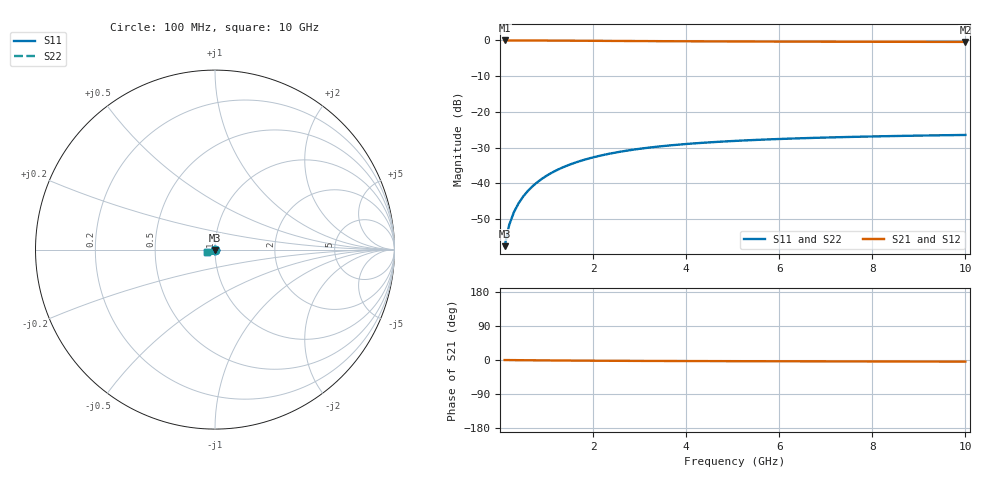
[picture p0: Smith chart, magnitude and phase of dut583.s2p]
! Touchstone file exported from HFSS 2024.1.0
!  File:  C:/UserFiles/LocalFiles/RDL_TSV_Batchsim/temp_TSV1_583_1779709494.aedt
!  Generated:  07:50:13 PM May 25, 2026
!  Design:  TSV1
!  Project:  temp_TSV1_583_1779709494
!  Setup:  Setup1
!  Solution:  Sweep
! Variables:
!  dtsv = 13.15um
!  hbump = 3um
!  htsv = 64.28um
!  lrdl = 252.1521522um
!  p = 40
!  p1 = 47.18um
!  t = 500um
!  trdl = 3um
!  wrdl = 24.89489489um
# GHz S MA R 50.000000
! Terminal data exported
! Port[1] = TSV22_T1
! Port[2] = TSV22_T2
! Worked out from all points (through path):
!   100 points, 100 MHz to 10 GHz, reference 50 ohm
!   highest |S21| = 0.00 dB at 100 MHz (marker M1); lowest = -0.4 dB at 10 GHz (marker M2)
!   lowest |S11| = -57.6 dB at 100 MHz (marker M3), VSWR 1.00, Z = 50 - j0.132 ohm
!   |S11| at or under -10 dB: start of sweep to end of sweep
!   |S22| runs from -57.6 to -26.5 dB; largest |S21 - S12| = 4.1e-15
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0.1  0.001321 -88.2  0.9999 -0.1  0.9999 -0.1  0.001321 -88.2
! Gamma 0 0 0 0
! Port Impedance 50 0 50 0
0.2  0.002637 -91.7  0.9998 -0.2  0.9998 -0.2  0.002637 -91.7
0.3  0.003951 -93.9  0.9996 -0.3  0.9996 -0.3  0.003951 -93.9
0.4  0.005259 -95.8  0.9993 -0.4  0.9993 -0.4  0.005259 -95.8
0.5  0.006555 -97.6  0.9989 -0.6  0.9989 -0.6  0.006555 -97.6
0.6  0.007837 -99.3  0.9985 -0.7  0.9985 -0.7  0.007837 -99.3
0.7  0.0091 -100.9  0.9981 -0.8  0.9981 -0.8  0.0091 -100.9
0.8  0.01034 -102.5  0.9975 -0.9  0.9975 -0.9  0.01034 -102.5
0.9  0.01156 -104.1  0.9969 -1.0  0.9969 -1.0  0.01156 -104.1
1.1  0.01393 -107.2  0.9956 -1.2  0.9956 -1.2  0.01393 -107.2
1.4  0.01726 -111.5  0.9934 -1.4  0.9934 -1.4  0.01726 -111.5
1.6  0.01933 -114.2  0.9918 -1.6  0.9918 -1.6  0.01933 -114.2
1.8  0.02127 -116.8  0.9901 -1.7  0.9901 -1.7  0.02127 -116.8
2.1  0.02395 -120.5  0.9876 -1.9  0.9876 -1.9  0.02395 -120.5
2.5  0.0271 -125.0  0.9843 -2.1  0.9843 -2.1  0.0271 -125.0
2.9  0.02982 -129.0  0.9812 -2.3  0.9812 -2.3  0.02982 -129.0
3.4  0.0327 -133.4  0.9776 -2.6  0.9776 -2.6  0.0327 -133.4
4.2  0.03634 -139.3  0.9725 -2.8  0.9725 -2.8  0.03634 -139.3
5.1  0.03942 -144.7  0.9678 -3.1  0.9678 -3.1  0.03942 -144.7
6.7  0.04322 -152.0  0.9617 -3.5  0.9617 -3.5  0.04322 -152.0
8.4  0.04586 -157.8  0.9573 -3.9  0.9573 -3.9  0.04586 -157.8
10  0.04757 -162.2  0.9543 -4.3  0.9543 -4.3  0.04757 -162.2
